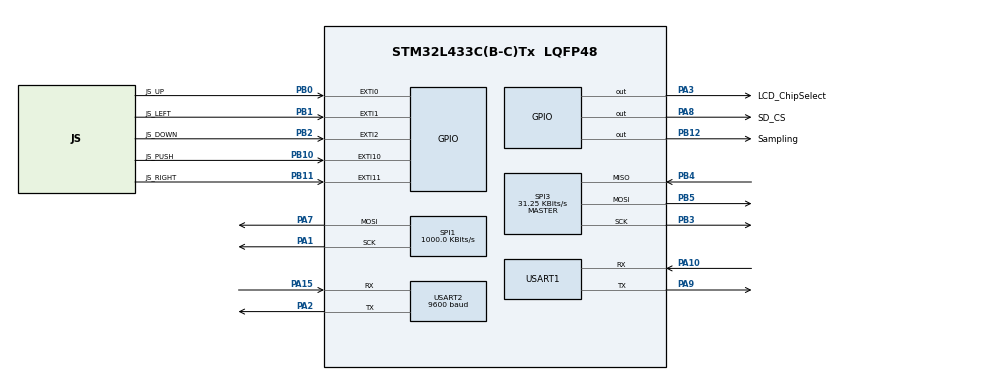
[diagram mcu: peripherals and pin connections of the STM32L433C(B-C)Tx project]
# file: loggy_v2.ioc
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FATFS._FS_TINY=0
FATFS._USE_LFN=2
Mcu.Family=STM32L4
Mcu.Name=STM32L433C(B-C)Tx
Mcu.Package=LQFP48
NVIC.EXTI0_IRQn=true\:0\:0\:false\:false\:true\:true\:true\:true
NVIC.EXTI15_10_IRQn=true\:0\:0\:false\:false\:true\:true\:true\:true
NVIC.EXTI1_IRQn=true\:0\:0\:false\:false\:true\:true\:true\:true
NVIC.EXTI2_IRQn=true\:0\:0\:false\:false\:true\:true\:true\:true
NVIC.PriorityGroup=NVIC_PRIORITYGROUP_4
NVIC.USART1_IRQn=true\:0\:0\:false\:false\:true\:true\:true\:true
NVIC.USART2_IRQn=true\:0\:0\:false\:false\:true\:true\:true\:true
PA1.Mode=TX_Only_Simplex_Unidirect_Master
PA1.Signal=SPI1_SCK
PA10.Mode=Asynchronous
PA10.Signal=USART1_RX
PA13\ (JTMS-SWDIO).Mode=Serial_Wire
PA13\ (JTMS-SWDIO).Signal=SYS_JTMS-SWDIO
PA14\ (JTCK-SWCLK).Mode=Serial_Wire
PA14\ (JTCK-SWCLK).Signal=SYS_JTCK-SWCLK
PA15\ (JTDI).Mode=Asynchronous
PA15\ (JTDI).Signal=USART2_RX
PA2.Mode=Asynchronous
PA2.Signal=USART2_TX
PA3.GPIO_Label=LCD_ChipSelect
PA3.Signal=GPIO_Output
PA7.Mode=TX_Only_Simplex_Unidirect_Master
PA7.Signal=SPI1_MOSI
PA8.GPIO_Label=SD_CS
PA8.GPIO_PuPd=GPIO_PULLUP
PA8.Signal=GPIO_Output
PA9.Mode=Asynchronous
PA9.Signal=USART1_TX
PB0.GPIO_Label=JS_UP
PB0.GPIO_ModeDefaultEXTI=GPIO_MODE_IT_FALLING
PB0.GPIO_PuPd=GPIO_PULLUP
PB0.Signal=GPXTI0
PB1.GPIO_Label=JS_LEFT
PB1.GPIO_ModeDefaultEXTI=GPIO_MODE_IT_FALLING
PB1.GPIO_PuPd=GPIO_PULLUP
PB1.Signal=GPXTI1
PB10.GPIO_Label=JS_PUSH
PB10.GPIO_ModeDefaultEXTI=GPIO_MODE_IT_FALLING
PB10.GPIO_PuPd=GPIO_PULLUP
PB10.Signal=GPXTI10
PB11.GPIO_Label=JS_RIGHT
PB11.GPIO_ModeDefaultEXTI=GPIO_MODE_IT_FALLING
PB11.GPIO_PuPd=GPIO_PULLUP
PB11.Signal=GPXTI11
PB12.GPIO_Label=Sampling
PB12.Signal=GPIO_Output
PB2.GPIO_Label=JS_DOWN
PB2.GPIO_ModeDefaultEXTI=GPIO_MODE_IT_FALLING
PB2.GPIO_PuPd=GPIO_PULLUP
PB2.Signal=GPXTI2
PB3\ (JTDO-TRACESWO).GPIO_PuPd=GPIO_PULLUP
PB3\ (JTDO-TRACESWO).Mode=Full_Duplex_Master
PB3\ (JTDO-TRACESWO).Signal=SPI3_SCK
PB4\ (NJTRST).GPIO_PuPd=GPIO_PULLUP
PB4\ (NJTRST).Mode=Full_Duplex_Master
PB4\ (NJTRST).Signal=SPI3_MISO
PB5.Mode=Full_Duplex_Master
PB5.Signal=SPI3_MOSI
PC14-OSC32_IN\ (PC14).Mode=LSE-External-Oscillator
PC14-OSC32_IN\ (PC14).Signal=RCC_OSC32_IN
PC15-OSC32_OUT\ (PC15).Mode=LSE-External-Oscillator
PC15-OSC32_OUT\ (PC15).Signal=RCC_OSC32_OUT
ProjectManager.HeapSize=0x200
ProjectManager.StackSize=0x400
ProjectManager.TargetToolchain=STM32CubeIDE
RCC.HSE_VALUE=8000000
RCC.HSI48_VALUE=48000000
RCC.HSI_VALUE=16000000
RCC.MSI_VALUE=4000000
RCC.RTCClockSelection=RCC_RTCCLKSOURCE_LSE
RCC.VCOOutputFreq_Value=32000000
RTC.Date=27
RTC.Hours=13
RTC.Minutes=31
RTC.Month=RTC_MONTH_MAY
RTC.WeekDay=RTC_WEEKDAY_SUNDAY
RTC.Year=25
SPI1.BaudRatePrescaler=SPI_BAUDRATEPRESCALER_4
SPI1.CalculateBaudRate=1000.0 KBits/s
SPI1.DataSize=SPI_DATASIZE_8BIT
SPI1.Direction=SPI_DIRECTION_2LINES
SPI1.Mode=SPI_MODE_MASTER
SPI1.VirtualType=VM_MASTER
SPI3.BaudRatePrescaler=SPI_BAUDRATEPRESCALER_128
SPI3.CalculateBaudRate=31.25 KBits/s
SPI3.DataSize=SPI_DATASIZE_8BIT
SPI3.Direction=SPI_DIRECTION_2LINES
SPI3.Mode=SPI_MODE_MASTER
SPI3.VirtualType=VM_MASTER
USART1.VirtualMode-Asynchronous=VM_ASYNC
USART2.BaudRate=9600
USART2.VirtualMode-Asynchronous=VM_ASYNC
VP_FATFS_VS_Generic.Mode=User_defined
VP_RTC_VS_RTC_Activate.Mode=RTC_Enabled
VP_RTC_VS_RTC_Calendar.Mode=RTC_Calendar
board=custom

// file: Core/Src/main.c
/* USER CODE BEGIN Header */
/**
  ******************************************************************************
  * @file           : main.c
  * @brief          : Main program body
  ******************************************************************************
  * @attention
  *
  * Copyright (c) 2025 STMicroelectronics.
  * All rights reserved.
  *
  * This software is licensed under terms that can be found in the LICENSE file
  * in the root directory of this software component.
  * If no LICENSE file comes with this software, it is provided AS-IS.
  *
  ******************************************************************************
  */
/* USER CODE END Header */
#include "main.h"
#include "fatfs.h"
#include "rtc.h"
#include "spi.h"
#include "usart.h"
#include "gpio.h"

/* USER CODE BEGIN Includes */
#include <stdio.h>
#include <stdlib.h>
#include <time.h>
#include <sys/time.h>
#include <string.h>
#include "u8g2.h"
#include "lcd.h"
#include "serial.h"
#include "optical.h"
#include "sd_card.h"
#include "state_control.h"
#include "flash.h"

#define DEBUGGING
#ifdef DEBUGGING
#include "SEGGER_RTT.h"
#endif /* DEBUGGING */

/* USER CODE END Includes */

/* USER CODE BEGIN PD */

//#define NUMBER_CHANNELS  8   // Define number of channels
#define DELAY            0.5f // Define delay (using 'f' for float)
#define INTERVAL 500  // 5000ms = 5 seconds

/* USER CODE END PD */

/* USER CODE BEGIN PV */

/* USER CODE BEGIN PV */

/* USER CODE END PV */

void SystemClock_Config(void);

int main(void)
{

  /* MCU Configuration--------------------------------------------------------*/

  /* Reset of all peripherals, Initializes the Flash interface and the Systick. */
  HAL_Init();

  /* USER CODE BEGIN Init */
  hrtc.Instance = RTC;

  __HAL_RCC_PWR_CLK_ENABLE();
  HAL_PWR_EnableBkUpAccess();
  __HAL_RCC_RTC_ENABLE();

  /* USER CODE END Init */

  /* Configure the system clock */
  SystemClock_Config();

  /* Initialize all configured peripherals */
  MX_GPIO_Init();
  MX_SPI1_Init();
  MX_USART1_UART_Init();
  MX_FATFS_Init();
  MX_SPI3_Init();
  MX_USART2_UART_Init();
  /* USER CODE BEGIN 2 */

  uint32_t bkup = HAL_RTCEx_BKUPRead(&hrtc, RTC_BKP_DR1);

  //SEGGER_RTT_printf(0, "Backup reg: 0x%08lX\n\r", bkup);
  if (HAL_RTCEx_BKUPRead(&hrtc, RTC_BKP_DR1) != 0x32F2) {
      // RTC not configured yet
	  //SEGGER_RTT_printf(0, "reset RTC\n\r");
      MX_RTC_Init();  // Set time/date here
      HAL_RTCEx_BKUPWrite(&hrtc, RTC_BKP_DR1, 0x32F2); // Mark as initialised
  }
  EEPROM_Init();
  init_control_state();

  // Begin UART receive
  serialIn_init();
  optical_init();

  // Initialise the LCD display
  u8g2_setup();

  // Flag to track SD card initialization status
  static int sdCardInitialized = 0;
  char RTC_buffer[50];

  // Initialise the SD Card
  if (initialise_sd_card()) {
      // Set the flag to indicate SD card is initialized
	  sdCardInitialized = 1;
  }

  /* USER CODE END 2 */

  /* Infinite loop */
  /* USER CODE BEGIN WHILE */
  while (1) {
	  // Get current system time in ms
	  uint32_t currentTime = HAL_GetTick();

	  static uint32_t lastTime = 0;
	  static uint32_t newTime = 0;

	  // If 5 seconds have passed, check the SD card status
	  if (currentTime - lastTime >= INTERVAL) {
		  // Try to initialize the SD card again only if it hasn't been initialized yet
	      if (!sdCardInitialized) {
	    	  if (initialise_sd_card() == 0) {
	    		  // Set the flag to indicate SD card is initialized
	              sdCardInitialized = 1;
	              lastTime = currentTime; // Update lastTime after successful init
	          }
	      }
	  }
	  if (currentTime - lastTime >= INTERVAL) {
		  if (sdCardInitialized) {
			  update_sd_card();
		  }
		  lastTime = currentTime;
	  }

	  check_serial();
	  process_optical_input();
	  update_rtc_time();

	  update_screen();

    /* USER CODE END WHILE */

  }
}

void SystemClock_Config(void)
{
  RCC_OscInitTypeDef RCC_OscInitStruct = {0};
  RCC_ClkInitTypeDef RCC_ClkInitStruct = {0};

  /** Configure the main internal regulator output voltage
  */
  if (HAL_PWREx_ControlVoltageScaling(PWR_REGULATOR_VOLTAGE_SCALE1) != HAL_OK)
  {
    Error_Handler();
  }

  /** Configure LSE Drive Capability
  */
  HAL_PWR_EnableBkUpAccess();
  __HAL_RCC_LSEDRIVE_CONFIG(RCC_LSEDRIVE_LOW);

  /** Initializes the RCC Oscillators according to the specified parameters
  * in the RCC_OscInitTypeDef structure.
  */
  RCC_OscInitStruct.OscillatorType = RCC_OSCILLATORTYPE_LSE|RCC_OSCILLATORTYPE_MSI;
  RCC_OscInitStruct.LSEState = RCC_LSE_ON;
  RCC_OscInitStruct.MSIState = RCC_MSI_ON;
  RCC_OscInitStruct.MSICalibrationValue = 0;
  RCC_OscInitStruct.MSIClockRange = RCC_MSIRANGE_6;
  RCC_OscInitStruct.PLL.PLLState = RCC_PLL_NONE;
  if (HAL_RCC_OscConfig(&RCC_OscInitStruct) != HAL_OK)
  {
    Error_Handler();
  }

  /** Initializes the CPU, AHB and APB buses clocks
  */
  RCC_ClkInitStruct.ClockType = RCC_CLOCKTYPE_HCLK|RCC_CLOCKTYPE_SYSCLK
                              |RCC_CLOCKTYPE_PCLK1|RCC_CLOCKTYPE_PCLK2;
  RCC_ClkInitStruct.SYSCLKSource = RCC_SYSCLKSOURCE_MSI;
  RCC_ClkInitStruct.AHBCLKDivider = RCC_SYSCLK_DIV1;
  RCC_ClkInitStruct.APB1CLKDivider = RCC_HCLK_DIV1;
  RCC_ClkInitStruct.APB2CLKDivider = RCC_HCLK_DIV1;

  if (HAL_RCC_ClockConfig(&RCC_ClkInitStruct, FLASH_LATENCY_0) != HAL_OK)
  {
    Error_Handler();
  }

  /** Enable MSI Auto calibration
  */
  HAL_RCCEx_EnableMSIPLLMode();
}

void Error_Handler(void)
{
  __disable_irq();
  while (1)
  {
  }
}
